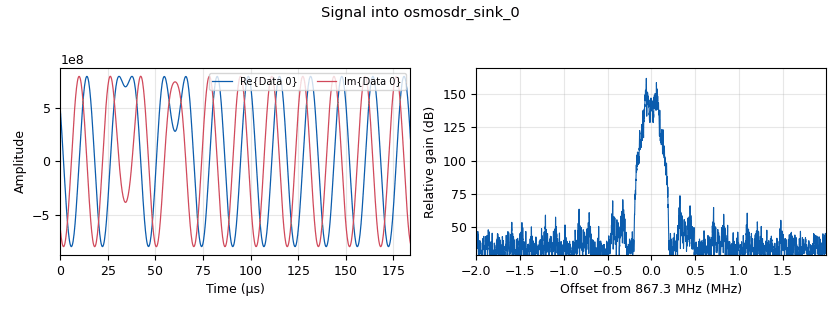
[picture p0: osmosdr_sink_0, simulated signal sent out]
<?xml version='1.0' encoding='utf-8'?>
<?grc format='1' created='3.7.11'?>
<flow_graph>
<block>
<key>options</key>
<param><key>id</key><value>top_block</value></param>
<param><key>generate_options</key><value>no_gui</value></param>
<param><key>run_options</key><value>run</value></param>
</block>
<block>
<key>variable</key>
<param><key>id</key><value>freq</value></param>
<param><key>value</key><value>867300000</value></param>
</block>
<block>
<key>variable</key>
<param><key>id</key><value>samp_rate</value></param>
<param><key>value</key><value>384000</value></param>
</block>
<block>
<key>parameter</key>
<param><key>id</key><value>baud_rate</value></param>
<param><key>label</key><value>baud_rate</value></param>
<param><key>value</key><value>38400</value></param>
</block>
<block>
<key>blocks_multiply_const_vxx</key>
<param><key>id</key><value>blocks_multiply_const_vxx_0</value></param>
<param><key>const</key><value>800000000</value></param>
<param><key>type</key><value>complex</value></param>
</block>
<block>
<key>blocks_vector_source_x</key>
<param><key>id</key><value>blocks_vector_source_x_0</value></param>
<param><key>type</key><value>byte</value></param>
<param><key>repeat</key><value>True</value></param>
<param><key>vector</key><value>[0x48,0x45,0x4c,0x4c,0x4f, 0x20, 0x4A, 0x4F, 0x4E]</value></param>
</block>
<block>
<key>digital_gfsk_mod</key>
<param><key>id</key><value>digital_gfsk_mod_0</value></param>
<param><key>bt</key><value>1</value></param>
<param><key>samples_per_symbol</key><value>sps</value></param>
<param><key>sensitivity</key><value>1</value></param>
</block>
<block>
<key>osmosdr_sink</key>
<param><key>id</key><value>osmosdr_sink_0</value></param>
<param><key>bb_gain0</key><value>20</value></param>
<param><key>freq0</key><value>freq</value></param>
<param><key>if_gain0</key><value>20</value></param>
<param><key>gain0</key><value>30</value></param>
<param><key>args</key><value></value></param>
<param><key>type</key><value>fc32</value></param>
<param><key>sample_rate</key><value>samp_rate_tx</value></param>
<param><key>sync</key><value></value></param>
</block>
<block>
<key>rational_resampler_xxx</key>
<param><key>id</key><value>rational_resampler_xxx_0</value></param>
<param><key>decim</key><value>samp_rate</value></param>
<param><key>interp</key><value>samp_rate_tx</value></param>
<param><key>taps</key><value></value></param>
<param><key>type</key><value>ccc</value></param>
</block>
<block>
<key>parameter</key>
<param><key>id</key><value>samp_rate_tx</value></param>
<param><key>label</key><value>samp_rate_tx</value></param>
<param><key>value</key><value>4000000</value></param>
</block>
<block>
<key>parameter</key>
<param><key>id</key><value>sps</value></param>
<param><key>label</key><value>sps</value></param>
<param><key>value</key><value>10</value></param>
</block>
<connection><source_block_id>blocks_multiply_const_vxx_0</source_block_id><sink_block_id>osmosdr_sink_0</sink_block_id><source_key>0</source_key><sink_key>0</sink_key></connection>
<connection><source_block_id>blocks_vector_source_x_0</source_block_id><sink_block_id>digital_gfsk_mod_0</sink_block_id><source_key>0</source_key><sink_key>0</sink_key></connection>
<connection><source_block_id>digital_gfsk_mod_0</source_block_id><sink_block_id>rational_resampler_xxx_0</sink_block_id><source_key>0</source_key><sink_key>0</sink_key></connection>
<connection><source_block_id>rational_resampler_xxx_0</source_block_id><sink_block_id>blocks_multiply_const_vxx_0</sink_block_id><source_key>0</source_key><sink_key>0</sink_key></connection>
</flow_graph>
